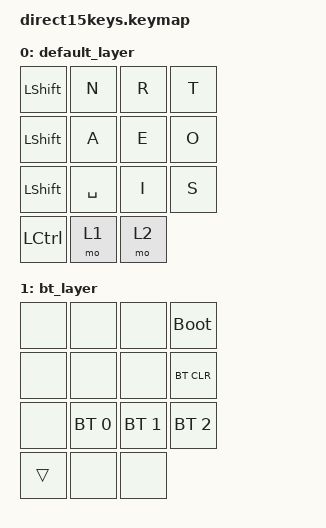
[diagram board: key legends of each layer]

#include <behaviors.dtsi>
#include <dt-bindings/zmk/keys.h>
#include <dt-bindings/zmk/bt.h>

/ {
    keymap {
        compatible = "zmk,keymap";

        default_layer {
            bindings = <
                &kp LSHIFT &kp N       &kp R         &kp T
                &kp LSHIFT &kp A       &kp E         &kp O
                &kp LSHIFT &kp SPACE   &kp I         &kp S

                &kp LCTRL  &mo 1       &mo 2
            >;
        };

        bt_layer {
          bindings = <
            &none           &none           &none           &bootloader
            &none           &none           &none           &bt BT_CLR
            &none           &bt BT_SEL 0    &bt BT_SEL 1    &bt BT_SEL 2

            &trans          &none           &none
          >;
        };
    };
};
